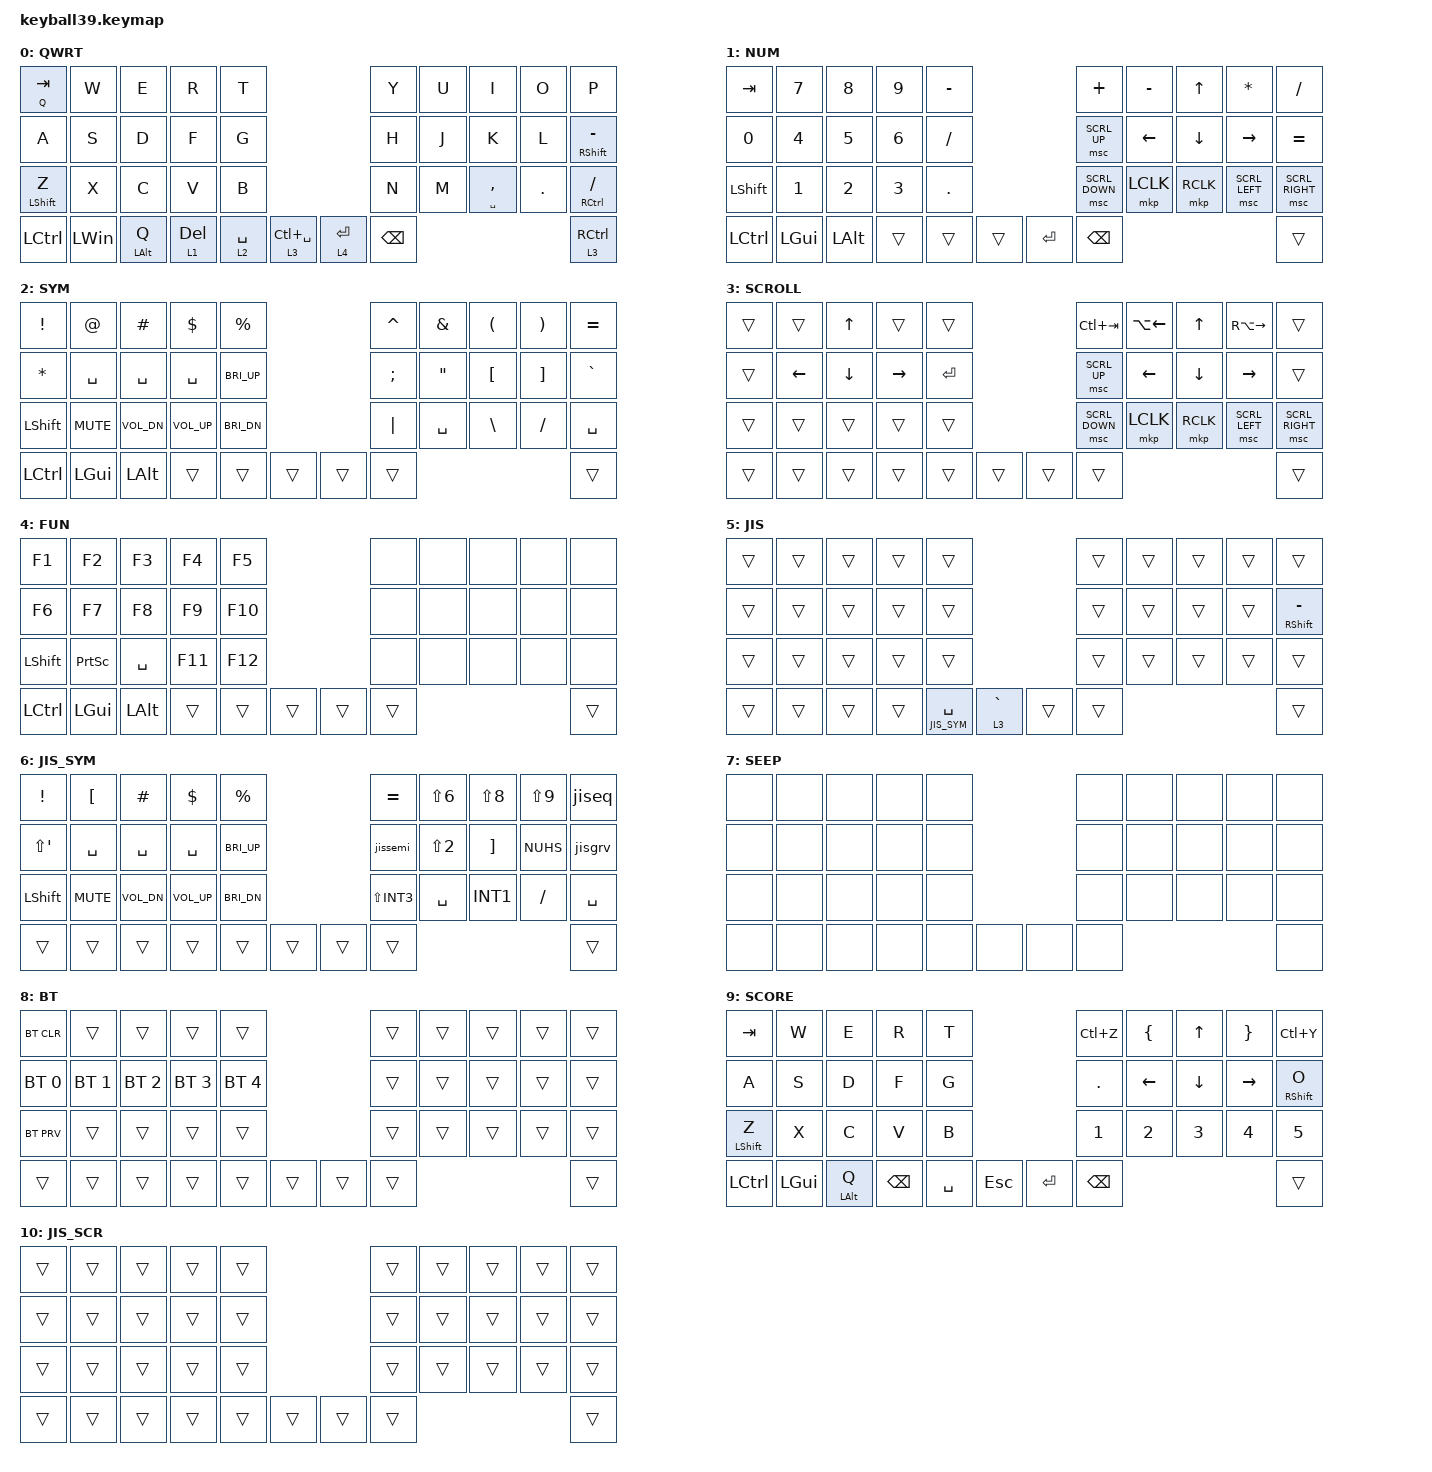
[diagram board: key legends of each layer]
#define DEFAULT 0
#define NUM     1
#define SYM     2
#define SCROLL  3
#define FUN     4
#define JIS     5
#define JIS_SYM 6
#define SLEEP   7
#define BT      8
#define SCORE   9
#define JIS_SCROLL 10

#include <behaviors/mouse_keys.dtsi>
#include <dt-bindings/zmk/mouse.h>
#include <dt-bindings/zmk/mouse.h>
#include <dt-bindings/zmk/mouse.h>
#include <dt-bindings/zmk/mouse.h>
#include <dt-bindings/zmk/mouse.h>
#include <dt-bindings/zmk/mouse.h>
#include <dt-bindings/zmk/mouse.h>
#include <dt-bindings/zmk/mouse.h>
#include <dt-bindings/zmk/mouse.h>
#include <dt-bindings/zmk/mouse.h>
#include <dt-bindings/zmk/mouse.h>
#include <dt-bindings/zmk/mouse.h>
#include <dt-bindings/zmk/mouse.h>
#include <dt-bindings/zmk/mouse.h>
#include <dt-bindings/zmk/mouse.h>
#include <dt-bindings/zmk/mouse.h>
#include <dt-bindings/zmk/mouse.h>
#include <dt-bindings/zmk/mouse.h>
#include <dt-bindings/zmk/mouse.h>
#include <dt-bindings/zmk/mouse.h>
#include <dt-bindings/zmk/mouse.h>
#include <dt-bindings/zmk/mouse.h>
#include <dt-bindings/zmk/mouse.h>
#include <dt-bindings/zmk/mouse.h>
#include <dt-bindings/zmk/mouse.h>
#include <dt-bindings/zmk/mouse.h>
#include <dt-bindings/zmk/mouse.h>
#include <dt-bindings/zmk/mouse.h>
#include <dt-bindings/zmk/mouse.h>
#include <dt-bindings/zmk/mouse.h>
#include <behaviors.dtsi>
#include <dt-bindings/zmk/bt.h>
#include <dt-bindings/zmk/keys.h>
#include <dt-bindings/zmk/pointing.h>

&lt {
    tapping-term-ms = <240>;
    flavor = "balanced";
    quick-tap-ms = <150>;
};

&mt {
    tapping-term-ms = <200>;
    flavor = "tap-preferred";
    quick-tap-ms = <150>;
};

&caps_word { continue-list = <UNDERSCORE MINUS>; };

/ {
    // custom shift using mod-morph 

    behaviors {
        smt: shift_mod_tap {
            compatible = "zmk,behavior-hold-tap";
            label = "SHIFT_MOD_TAP";
            #binding-cells = <2>;
            tapping-term-ms = <200>;
            flavor = "balanced";
            quick-tap-ms = <150>;
            bindings = <&kp>, <&kp>;
        };

        cmqus: comma_question {
            compatible = "zmk,behavior-mod-morph";
            label = "COMMA_QUESTION";
            #binding-cells = <0>;
            bindings = <&kp COMMA>, <&kp QUESTION>;

            mods = <(MOD_LSFT|MOD_RSFT)>;
        };

        dtsmi: dot_semi {
            compatible = "zmk,behavior-mod-morph";
            label = "DOT_SEMI";
            #binding-cells = <0>;
            bindings = <&kp DOT>, <&kp SEMI>;

            mods = <(MOD_LSFT|MOD_RSFT)>;
        };

        jiseq: jis_equal_plus {
            compatible = "zmk,behavior-mod-morph";
            label = "JIS_EQUAL_PLUS";
            #binding-cells = <0>;
            bindings = <&kp LS(MINUS)>, <&kp LS(SEMI)>;

            mods = <(MOD_LSFT|MOD_RSFT)>;
        };

        jissemi: jis_semi_colon {
            compatible = "zmk,behavior-mod-morph";
            label = "JIS_SEMI_COLON";
            #binding-cells = <0>;
            bindings = <&kp SEMI>, <&kp SQT>;

            mods = <(MOD_LSFT|MOD_RSFT)>;
        };

        jisgrv: jis_grave_tilde {
            compatible = "zmk,behavior-mod-morph";
            label = "JIS_GRAVE_TILDE";
            #binding-cells = <0>;
            bindings = <&kp LS(LBKT)>, <&kp LS(EQUAL)>;

            mods = <(MOD_LSFT|MOD_RSFT)>;
        };

        jisus: jis_minus_underscore {
            compatible = "zmk,behavior-mod-morph";
            label = "JIS_MINUS_UNDERSCORE";
            #binding-cells = <0>;
            bindings = <&kp MINUS>, <&kp LS(INT1)>;

            mods = <(MOD_LSFT|MOD_RSFT)>;
        };

        jsmt: jis_shift_mod_tap {
            compatible = "zmk,behavior-hold-tap";
            label = "JIS_SHIFT_MOD_TAP";
            #binding-cells = <2>;
            tapping-term-ms = <200>;
            flavor = "balanced";
            quick-tap-ms = <150>;
            bindings = <&kp>, <&jisus>;
        };
    };

    macros {
        Hiragana: Hiragana {
            compatible = "zmk,behavior-macro";
            #binding-cells = <0>;
            bindings = <&kp LC(SPACE)>;
            label = "HIRAGANA";
        };
    };

    conditional_layers {
        compatible = "zmk,conditional-layers";

        jis_scroll {
            if-layers = <JIS SCROLL>;
            then-layer = <JIS_SCROLL>;
        };
    };

    combos {
        compatible = "zmk,combos";

        Lclick {
            bindings = <&mkp LCLK>;
            key-positions = <16 17>;
        };

        Rclick {
            bindings = <&mkp RCLK>;
            key-positions = <17 18>;
        };

        Uscroll {
            bindings = <&msc SCRL_UP>;
            key-positions = <7 16 18>;
        };

        Dscroll {
            bindings = <&msc SCRL_DOWN>;
            key-positions = <17 26 18>;
        };

        Lscroll {
            bindings = <&msc SCRL_LEFT>;
            key-positions = <17 16 25>;
        };

        Rscroll {
            bindings = <&msc SCRL_RIGHT>;
            key-positions = <27 18 19>;
        };

        toSleep {
            bindings = <&to 7>;
            key-positions = <2 11 9 18>;
            layers = <0>;
        };

        to0 {
            bindings = <&to 0>;
            key-positions = <10 11 12 13>;
        };

        toBT {
            bindings = <&to 8>;
            key-positions = <4 24 37>;
        };

        toMusescore {
            bindings = <&to 9>;
            key-positions = <30 32 31 24>;
        };

        escap {
            bindings = <&kp ESCAPE>;
            key-positions = <11 0>;
        };

        Lreset {
            bindings = <&sys_reset>;
            key-positions = <10 1 2 13>;
        };

        Rreset {
            bindings = <&sys_reset>;
            key-positions = <16 7 8 19>;
        };

        toggle_jis {
            bindings = <&tog JIS>;
            key-positions = <16 17 18 19>;
            layers = <DEFAULT JIS>;
            timeout-ms = <80>;
            require-prior-idle-ms = <125>;
        };

        home {
            bindings = <&kp HOME>;
            key-positions = <5 6 7>;
        };

        end {
            bindings = <&kp END>;
            key-positions = <26 25 27>;
        };

        bt3 {
            bindings = <&bt BT_SEL 0>;
            key-positions = <23 22 21 24>;
        };

        BT0 {
            bindings = <&bt BT_SEL 2>;
            key-positions = <11 12 13 14>;
        };

        bt4 {
            bindings = <&bt BT_SEL 3>;
            key-positions = <2 3 4 1>;
        };

        browser_close {
            bindings = <&kp RC(W)>;
            key-positions = <8 9>;
            layers = <3 5>;
        };

        window_close {
            bindings = <&kp LA(F4)>;
            key-positions = <3 4 2>;
            layers = <3 5>;
        };
    };

    keymap {
        compatible = "zmk,keymap";

        default_layer {
            label = "QWRT";
            bindings = <
&mt Q TAB          &kp W         &kp E       &kp R         &kp T                                      &kp Y          &kp U  &kp I            &kp O    &kp P
&kp A              &kp S         &kp D       &kp F         &kp G                                      &kp H          &kp J  &kp K            &kp L    &smt RIGHT_SHIFT MINUS
&smt LEFT_SHIFT Z  &kp X         &kp C       &kp V         &kp B                                      &kp N          &kp M  &mt SPACE COMMA  &kp DOT  &mt RIGHT_CONTROL SLASH
&kp LCTRL          &kp LEFT_WIN  &mt LALT Q  &lt 1 DELETE  &lt 2 SPACE  &lt 3 LC(SPACE)  &lt 4 ENTER  &kp BACKSPACE                                   &lt 3 RIGHT_CONTROL
            >;
        };

        number_layer {
            label = "NUM";
            bindings = <
&kp TAB    &kp NUMBER_7  &kp N8    &kp N9  &kp MINUS                   &kp PLUS        &kp MINUS  &kp UP     &kp ASTERISK    &kp FSLH
&kp N0     &kp N4        &kp N5    &kp N6  &kp FSLH                    &msc SCRL_UP    &kp LEFT   &kp DOWN   &kp RIGHT       &kp EQUAL
&kp LSHFT  &kp N1        &kp N2    &kp N3  &kp DOT                     &msc SCRL_DOWN  &mkp LCLK  &mkp RCLK  &msc SCRL_LEFT  &msc SCRL_RIGHT
&kp LCTRL  &kp LGUI      &kp LALT  &trans  &trans     &trans  &kp RET  &kp BSPC                                              &trans
            >;
        };

        symbol_layer {
            label = "SYM";
            bindings = <
&kp EXCLAMATION  &kp AT_SIGN  &kp HASH      &kp DOLLAR    &kp PERCENT                   &kp CARET  &kp AMPERSAND      &kp LEFT_PARENTHESIS  &kp RIGHT_PARENTHESIS  &kp EQUAL
&kp ASTERISK     &kp SPACE    &kp SPACE     &kp SPACE     &kp C_BRI_UP                  &kp SEMI   &kp DOUBLE_QUOTES  &kp LBKT              &kp RIGHT_BRACKET      &kp GRAVE
&kp LSHFT        &kp C_MUTE   &kp C_VOL_DN  &kp C_VOL_UP  &kp C_BRI_DN                  &kp PIPE   &kp SPACE          &kp BACKSLASH         &kp SLASH              &kp SPACE
&kp LCTRL        &kp LGUI     &kp LALT      &trans        &trans        &trans  &trans  &trans                                                                     &trans
            >;
        };

        scroll_layer {
            label = "SCROLL";
            bindings = <
&trans  &trans          &kp UP_ARROW    &trans           &trans                     &kp LC(TAB)     &kp LA(LEFT)  &kp UP     &kp RA(RIGHT)   &trans
&trans  &kp LEFT_ARROW  &kp DOWN_ARROW  &kp RIGHT_ARROW  &kp ENTER                  &msc SCRL_UP    &kp LEFT      &kp DOWN   &kp RIGHT       &trans
&trans  &trans          &trans          &trans           &trans                     &msc SCRL_DOWN  &mkp LCLK     &mkp RCLK  &msc SCRL_LEFT  &msc SCRL_RIGHT
&trans  &trans          &trans          &trans           &trans     &trans  &trans  &trans                                                   &trans
            >;
        };

        function_layer {
            label = "FUN";
            bindings = <
&kp F1     &kp F2           &kp F3     &kp F4   &kp F5                   &none   &none  &none  &none  &none
&kp F6     &kp F7           &kp F8     &kp F9   &kp F10                  &none   &none  &none  &none  &none
&kp LSHFT  &kp PRINTSCREEN  &kp SPACE  &kp F11  &kp F12                  &none   &none  &none  &none  &none
&kp LCTRL  &kp LGUI         &kp LALT   &trans   &trans   &trans  &trans  &trans                       &trans
            >;
        };

        jis_layer {
            label = "JIS";
            bindings = <
&trans  &trans  &trans  &trans  &trans                                  &trans  &trans  &trans  &trans  &trans
&trans  &trans  &trans  &trans  &trans                                  &trans  &trans  &trans  &trans  &jsmt RIGHT_SHIFT MINUS
&trans  &trans  &trans  &trans  &trans                                  &trans  &trans  &trans  &trans  &trans
&trans  &trans  &trans  &trans  &lt JIS_SYM SPACE  &lt 3 GRAVE  &trans  &trans                          &trans
            >;
        };

        jis_symbol_layer {
            label = "JIS_SYM";
            bindings = <
&kp EXCLAMATION  &kp LBKT    &kp HASH      &kp DOLLAR    &kp PERCENT                   &kp EQUAL     &kp LS(N6)  &kp LS(N8)  &kp LS(N9)  &jiseq
&kp LS(SQT)      &kp SPACE   &kp SPACE     &kp SPACE     &kp C_BRI_UP                  &jissemi      &kp LS(N2)  &kp RBKT    &kp NUHS    &jisgrv
&kp LSHFT        &kp C_MUTE  &kp C_VOL_DN  &kp C_VOL_UP  &kp C_BRI_DN                  &kp LS(INT3)  &kp SPACE   &kp INT1    &kp SLASH   &kp SPACE
&trans           &trans      &trans        &trans        &trans        &trans  &trans  &trans                                            &trans
            >;
        };

        sleep {
            bindings = <
&none  &none  &none  &none  &none                &none  &none  &none  &none  &none
&none  &none  &none  &none  &none                &none  &none  &none  &none  &none
&none  &none  &none  &none  &none                &none  &none  &none  &none  &none
&none  &none  &none  &none  &none  &none  &none  &none                       &none
            >;

            label = "SEEP";
        };

        bt_seting {
            bindings = <
&bt BT_CLR    &trans        &trans        &trans        &trans                        &trans  &trans  &trans  &trans  &trans
&bt BT_SEL 0  &bt BT_SEL 1  &bt BT_SEL 2  &bt BT_SEL 3  &bt BT_SEL 4                  &trans  &trans  &trans  &trans  &trans
&bt BT_PRV    &trans        &trans        &trans        &trans                        &trans  &trans  &trans  &trans  &trans
&trans        &trans        &trans        &trans        &trans        &trans  &trans  &trans                          &trans
            >;

            label = "BT";
        };

        musescore {
            bindings = <
&kp TAB      &kp W     &kp E           &kp R     &kp T                           &kp LC(Z)     &kp LEFT_BRACE  &kp UP        &kp RIGHT_BRACE  &kp LC(Y)
&kp A        &kp S     &kp D           &kp F     &kp G                           &kp PERIOD    &kp LEFT        &kp DOWN      &kp RIGHT        &mt RIGHT_SHIFT O
&mt LSHFT Z  &kp X     &kp C           &kp V     &kp B                           &kp NUMBER_1  &kp NUMBER_2    &kp NUMBER_3  &kp NUMBER_4     &kp NUMBER_5
&kp LCTRL    &kp LGUI  &mt LEFT_ALT Q  &kp BSPC  &kp SPACE  &kp ESCAPE  &kp RET  &kp BSPC                                                     &trans
            >;

            label = "SCORE";
        };

        jis_scroll_layer {
            label = "JIS_SCR";
            bindings = <
&trans  &trans  &trans  &trans  &trans                  &trans  &trans  &trans  &trans  &trans
&trans  &trans  &trans  &trans  &trans                  &trans  &trans  &trans  &trans  &trans
&trans  &trans  &trans  &trans  &trans                  &trans  &trans  &trans  &trans  &trans
&trans  &trans  &trans  &trans  &trans  &trans  &trans  &trans                          &trans
            >;
        };
    };
};
